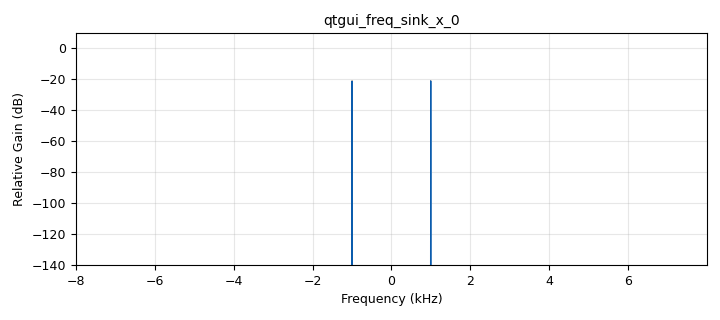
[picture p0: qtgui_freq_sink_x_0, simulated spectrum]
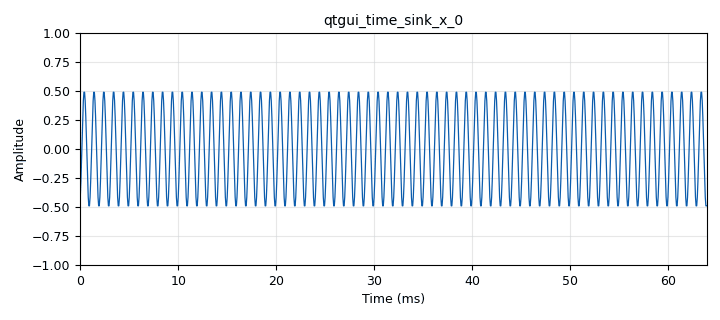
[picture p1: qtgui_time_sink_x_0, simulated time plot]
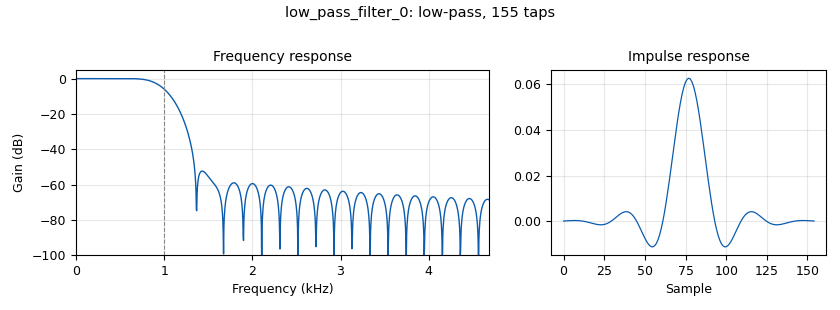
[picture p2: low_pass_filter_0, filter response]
options:
  parameters:
    author: rcampello
    generate_options: qt_gui
    id: example005
    output_language: python
    title: example005
  states: {}

blocks:
- name: decfac
  id: variable
  parameters:
    value: '2'
  states: {}
- name: f0
  id: variable_qtgui_range
  parameters:
    gui_hint: 1, 1, 1, 1
    orient: Qt.Horizontal
    start: '-5000'
    step: '1'
    stop: '5000'
    value: '1000'
  states: {}
- name: offset
  id: variable_qtgui_range
  parameters:
    gui_hint: 0, 1, 1, 1
    orient: Qt.Horizontal
    start: '-1'
    step: '0.01'
    stop: '1'
    value: '0'
  states: {}
- name: samp_rate
  id: variable
  parameters:
    value: '32000'
  states: {}
- name: waveform
  id: variable_qtgui_chooser
  parameters:
    gui_hint: 0, 0, 2, 1
    label0: Cosine
    label1: Rectangular
    label2: Triangular
    num_opts: '3'
    option1: '103'
    option2: '104'
    type: int
    value: '102'
    widget: radio_buttons
  states: {}
- name: analog_sig_source_x_0
  id: analog_sig_source_x
  parameters:
    amp: '1'
    freq: f0
    offset: offset
    phase: '0'
    samp_rate: samp_rate
    type: float
    waveform: waveform
  states: {}
- name: blocks_throttle_0
  id: blocks_throttle
  parameters:
    samples_per_second: samp_rate
    type: float
  states: {}
- name: low_pass_filter_0
  id: low_pass_filter
  parameters:
    cutoff_freq: '1000'
    decim: decfac
    gain: '1'
    samp_rate: samp_rate
    type: fir_filter_fff
    width: '500'
    win: firdes.WIN_HAMMING
  states: {}
- name: qtgui_freq_sink_x_0
  id: qtgui_freq_sink_x
  parameters:
    bw: samp_rate / decfac
    fc: '0'
    fftsize: 1024 * 8
    grid: 'True'
    gui_hint: 2, 1, 1, 1
    type: float
    wintype: firdes.WIN_BLACKMAN_hARRIS
  states: {}
- name: qtgui_time_sink_x_0
  id: qtgui_time_sink_x
  parameters:
    grid: 'True'
    gui_hint: 2, 0, 1, 1
    size: '1024'
    srate: samp_rate / decfac
    type: float
  states: {}

connections:
- [analog_sig_source_x_0, '0', blocks_throttle_0, '0']
- [blocks_throttle_0, '0', low_pass_filter_0, '0']
- [low_pass_filter_0, '0', qtgui_freq_sink_x_0, '0']
- [low_pass_filter_0, '0', qtgui_time_sink_x_0, '0']

metadata:
  file_format: 1
